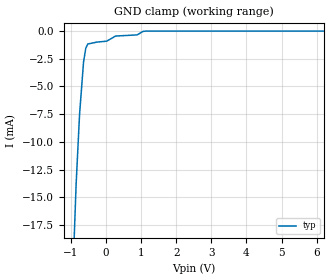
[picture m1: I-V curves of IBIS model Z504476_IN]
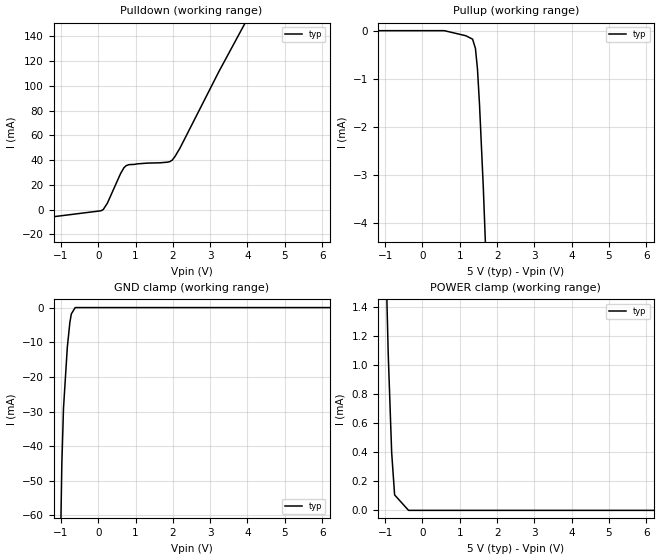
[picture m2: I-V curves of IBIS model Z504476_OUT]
| YOU ARE ONLY AUTHORIZED TO USE THIS SOFTWARE
| ACCORDING TO LICENSOR'S LICENSE RESTRICTIONS.
[IBIS Ver] 3.1
[File Name] sn54ls76aj.ibs
[File Rev] 2.0
[Source] Measured and created by ICX Technology
[Date] Friday 7/14/00 9:08:15 AM
[Copyright]
| (C) COPYRIGHT 1993-2000
| MENTOR GRAPHICS CORPORATION
| ICX STANDARD LIBRARY, ICX PROJECT MODELING,
| ICX CUSTOM MODELING, ICX VENDOR MODEL
| ALL RIGHTS RESERVED.
| THE FOLLOWING ARE TRADEMARKS OR SERVICE MARKS OF
| MENTOR GRAPHICS CORPORATION:ICX (R), ICX STANDARD
| LIBRARY(R), ICX PROJECT MODELING(R), ICX CUSTOM
| MODELING(R), qualityIBIS(TM), MODELVIEWER(TM),
| AND MODELEDITOR(TM)
| ALL COPIES OF SOFTWARE, INCLUDING BUT NOT LIMITED TO
| ANY MODIFICATIONS, ENHANCEMENTS OR DERIVATIVE WORKS,
| MUST CONTAIN ALL MENTOR GRAPHICS CORPORATION'S
| NOTICES AND LEGENDS, INCLUDING THOSE EMBEDDED IN
| SOFTWARE AND THOSE AFFIXED TO SOFTWARE MEDIUM
| AND CONTAINER, AS RECEIVED FROM MENTOR GRAPHICS
| CORPORATION.
|  ZAP Model Builder 2.7
[Component] SN54LS76AJ
[Manufacturer] OnSemiconductor
[Package]
| variable   typ   min   max
R_pkg  .212ohms NA NA
L_pkg  4.758nH NA NA
C_pkg  1.944pF NA NA
[Pin] signal_name  model_name  R_pin  L_pin C_pin
1 _CLK Z504476_IN .224 7.258n 2.683p
2 _PRE Z504476_IN .216 5.258n 2.19p
3 _CLR Z504476_IN .208 3.758n 1.697p
4 J Z504476_IN .2 2.758n 1.204p
5 VCC POWER .2 2.758n 1.204p
6 _CLK Z504476_IN .208 3.758n 1.697p
7 _PRE Z504476_IN .216 5.258n 2.19p
8 _CLR Z504476_IN .224 7.258n 2.683p
9 J Z504476_IN .224 7.258n 2.683p
10 _Q Z504476_OUT .216 5.258n 2.19p
11 Q Z504476_OUT .208 3.758n 1.697p
12 K Z504476_IN .2 2.758n 1.204p
13 GND GND .2 2.758n 1.204p
14 _Q Z504476_OUT .208 3.758n 1.697p
15 Q Z504476_OUT .216 5.258n 2.19p
16 K Z504476_IN .224 7.258n 2.683p
| Models and submodels in the file (2): Z504476_IN (Input), Z504476_OUT (Output)
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| (C) COPYRIGHT 1993-2000
| MENTOR GRAPHICS CORPORATION
| ICX STANDARD LIBRARY, ICX PROJECT MODELING,
| ICX CUSTOM MODELING, ICX VENDOR MODEL
| ALL RIGHTS RESERVED.
| THE FOLLOWING ARE TRADEMARKS OR SERVICE MARKS OF
| MENTOR GRAPHICS CORPORATION:ICX (R), ICX STANDARD
| LIBRARY(R), ICX PROJECT MODELING(R), ICX CUSTOM
| MODELING(R), qualityIBIS(TM), MODELVIEWER(TM),
| AND MODELEDITOR(TM)
| ALL COPIES OF SOFTWARE, INCLUDING BUT NOT LIMITED TO
| ANY MODIFICATIONS, ENHANCEMENTS OR DERIVATIVE WORKS,
| MUST CONTAIN ALL MENTOR GRAPHICS CORPORATION'S
| NOTICES AND LEGENDS, INCLUDING THOSE EMBEDDED IN
| SOFTWARE AND THOSE AFFIXED TO SOFTWARE MEDIUM
| AND CONTAINER, AS RECEIVED FROM MENTOR GRAPHICS
| CORPORATION.
| Model Application Version 1.89 2/18/99.
[Model] Z504476_IN
Model_type Input
Vinl = 800.0mV
Vinh = 2.000V
C_comp 4.000pF NA NA
| variable typ   min   max
[Voltage Range] 5.000V NA NA
[GND Clamp Reference] 0.000V NA NA
[POWER Clamp Reference] 5.000V NA NA
[GND Clamp]
-5V       -379.3mA   NA         NA
-849.5mV  -13.8mA    NA         NA
-752mV    -7.515mA   NA         NA
-638.7mV  -2.799mA   NA         NA
-574.9mV  -1.548mA   NA         NA
-518.1mV  -1.167mA   NA         NA
19.42mV   -912.7uA   NA         NA
273.4mV   -451.9uA   NA         NA
888.7mV   -346uA     NA         NA
1.046V    -43.09uA   NA         NA
1.123V    -3.299uA   NA         NA
10V       -3.299uA   NA         NA
[POWER Clamp]
-5V       0A         NA         NA
10V       0A         NA         NA
| (C) COPYRIGHT 1993-2000
| MENTOR GRAPHICS CORPORATION
| ICX STANDARD LIBRARY, ICX PROJECT MODELING,
| ICX CUSTOM MODELING, ICX VENDOR MODEL
| ALL RIGHTS RESERVED.
| THE FOLLOWING ARE TRADEMARKS OR SERVICE MARKS OF
| MENTOR GRAPHICS CORPORATION:ICX (R), ICX STANDARD
| LIBRARY(R), ICX PROJECT MODELING(R), ICX CUSTOM
| MODELING(R), qualityIBIS(TM), MODELVIEWER(TM),
| AND MODELEDITOR(TM)
| ALL COPIES OF SOFTWARE, INCLUDING BUT NOT LIMITED TO
| ANY MODIFICATIONS, ENHANCEMENTS OR DERIVATIVE WORKS,
| MUST CONTAIN ALL MENTOR GRAPHICS CORPORATION'S
| NOTICES AND LEGENDS, INCLUDING THOSE EMBEDDED IN
| SOFTWARE AND THOSE AFFIXED TO SOFTWARE MEDIUM
| AND CONTAINER, AS RECEIVED FROM MENTOR GRAPHICS
| CORPORATION.
| Model Application Version 1.89 2/18/99.
[Model] Z504476_OUT
Model_type Output
Vref=5.000V
Rref=2.000kohms
Cref=15.00pF
Vmeas=1.300V
C_comp 8.000pF NA NA
| variable typ   min   max
[Voltage Range] 5.000V NA NA
[POWER Clamp Reference] 5.000V NA NA
[Pullup Reference] 5.000V NA NA
[Pulldown Reference] 0.000V NA NA
[GND Clamp Reference] 0.000V NA NA
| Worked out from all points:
|   slope of the pulldown table from 0 to 0.75 V, typ, clamps not added: 20.4 ohm
|   slope of the pullup table from 0 to 0.75 V, typ, clamps not added: 24.9 kohm
|   GND clamp passes 1 mA (typ) near -0.68 V on its own axis
|   POWER clamp passes 1 mA (typ) near -0.91 V on its own axis
[GND Clamp]
-5V       -1.354A    NA         NA
-1.118V   -77.07mA   NA         NA
-1.069V   -74.83mA   NA         NA
-1.023V   -74.83mA   NA         NA
-976.9mV  -45.02mA   NA         NA
-932.6mV  -29.05mA   NA         NA
-830.1mV  -11.42mA   NA         NA
-761.6mV  -4.281mA   NA         NA
-722.8mV  -1.836mA   NA         NA
-619.5mV  0A         NA         NA
10V       0A         NA         NA
[Pulldown]
-5V       -19.92mA   NA         NA
68.44mV   -878.6uA   NA         NA
131.9mV   103.9uA    NA         NA
243.8mV   5.291mA    NA         NA
595.8mV   29.07mA    NA         NA
688.5mV   33.93mA    NA         NA
748.4mV   35.58mA    NA         NA
1.861V    38.41mA    NA         NA
1.982V    40.02mA    NA         NA
2.192V    49.85mA    NA         NA
3.237V    111.7mA    NA         NA
10V       488.6mA    NA         NA
[Pullup]
-5V       10.86uA    NA         NA
586mV     10.86uA    NA         NA
1.163V    -94.93uA   NA         NA
1.343V    -166.2uA   NA         NA
1.42V     -359.8uA   NA         NA
1.475V    -796.3uA   NA         NA
1.529V    -1.527mA   NA         NA
1.63V     -3.243mA   NA         NA
10V       -174.6mA   NA         NA
[POWER Clamp]
-5V       51.32mA    NA         NA
-1.011V   2.043mA    NA         NA
-918mV    1.076mA    NA         NA
-826mV    399.2uA    NA         NA
-747mV    106.6uA    NA         NA
-373.5mV  0A         NA         NA
10V       0A         NA         NA
[Ramp]
| variable typ min max
dV/dt_r 1.862/10.72n NA NA
dV/dt_f 1.862/2.704n NA NA
R_load = 500.0Ohms
